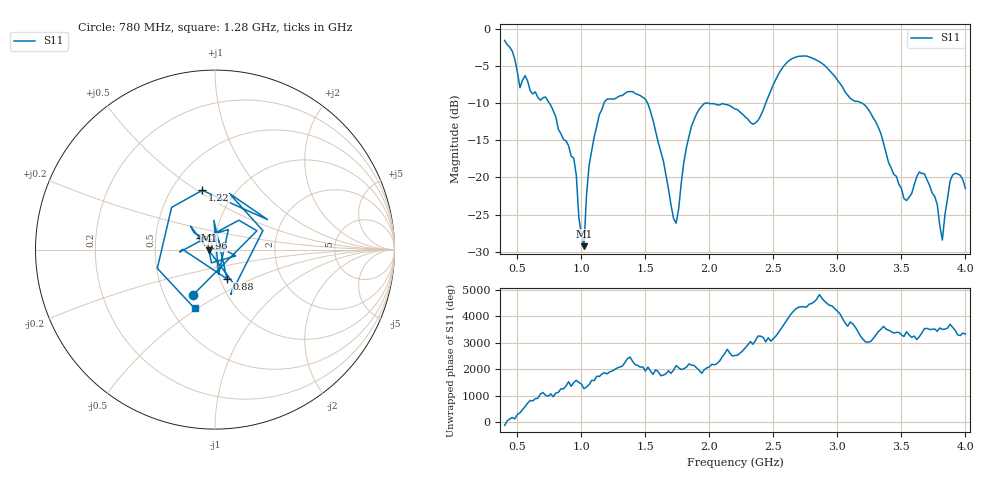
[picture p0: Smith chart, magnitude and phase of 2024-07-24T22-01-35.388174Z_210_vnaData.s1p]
!Created with skrf (http://scikit-rf.org).
# Hz S RI R 50.0
!freq ReS11 ImS11
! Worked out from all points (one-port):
!   181 points, 400 MHz to 4 GHz, reference 50 ohm
!   lowest |S11| = -29.3 dB at 1.02 GHz (marker M1), VSWR 1.07, Z = 46.7 - j0.395 ohm
!   |S11| at or under -10 dB: 1.518 GHz to 1.968 GHz (449.9 MHz wide, 25.8 % of centre); 1.99 GHz to 2.44 GHz (450 MHz wide, 20.3 % of centre); 3.193 GHz to end of sweep (the widest 3 of 4)
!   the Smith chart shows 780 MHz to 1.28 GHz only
!   S11 on the Smith chart (normalised r, x): 780 MHz: 0.69, -0.38; 880 MHz: 1.08, -0.36; 960 MHz: 0.84, +0.11; 1.22 GHz: 0.71, +0.53; 1.28 GHz: 0.65, -0.49
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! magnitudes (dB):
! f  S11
! 400 MHz  -1.5
! 520 MHz  -7.9
! 780 MHz  -11.0
! 860 MHz  -14.9
! 880 MHz  -15.1
! 960 MHz  -19.7
! 980 MHz  -25.4
! 1.02 GHz  -29.3
! 1.06 GHz  -18.4
! 1.14 GHz  -11.5
! 1.22 GHz  -9.4
! 1.28 GHz  -9.2
! 1.3 GHz  -9.0
! 1.52 GHz  -10.1
! 1.72 GHz  -25.5
! 1.76 GHz  -24.2
! 1.82 GHz  -16.0
! 1.92 GHz  -10.8
! 2.2 GHz  -10.8
! 2.36 GHz  -12.6
! 2.66 GHz  -3.9
! 3.1 GHz  -9.3
! 3.26 GHz  -11.3
! 3.56 GHz  -22.7
! 3.68 GHz  -19.5
! 3.82 GHz  -28.4
! 3.9 GHz  -19.7
! 4 GHz  -21.5
